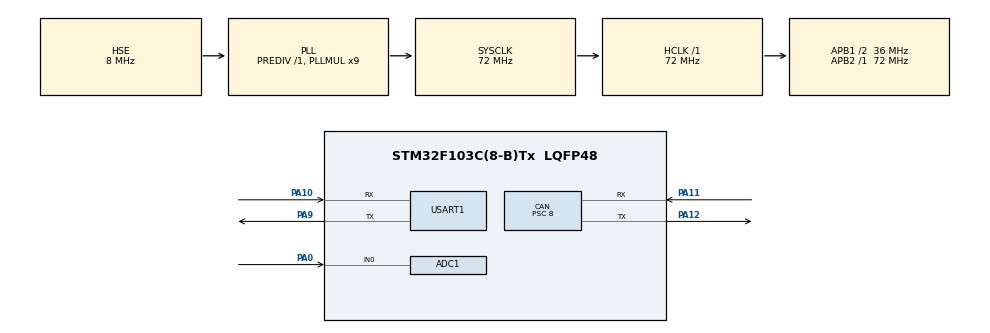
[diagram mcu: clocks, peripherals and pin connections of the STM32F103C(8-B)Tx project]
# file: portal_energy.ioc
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Mcu.Family=STM32F1
RCC.PLLSourceVirtual=RCC_PLLSOURCE_HSE
FREERTOS.Tasks01=defaultTask,0,128,StartDefaultTask,Default,NULL,Dynamic,NULL,NULL
ADC1.Rank-0\#ChannelRegularConversion=1
PD1-OSC_OUT.Mode=HSE-External-Oscillator
PA10.Mode=Asynchronous
VP_ADC1_TempSens_Input.Mode=IN-TempSens
ADC1.ContinuousConvMode=ENABLE
CAN.CalculateBaudRate=250000
PA11.Mode=CAN_Activate
CAN.SJW=CAN_SJW_1TQ
PD0-OSC_IN.Signal=RCC_OSC_IN
RCC.APB1CLKDivider=RCC_HCLK_DIV2
CAN.CalculateTimeBit=3999.99
RCC.SYSCLKSource=RCC_SYSCLKSOURCE_PLLCLK
ProjectManager.StackSize=0x400
PA0-WKUP.Signal=ADCx_IN0
PD1-OSC_OUT.Signal=RCC_OSC_OUT
RCC.ADCPresc=RCC_ADCPCLK2_DIV6
PA13.Signal=SYS_JTMS-SWDIO
PA9.Mode=Asynchronous
PA12.Signal=CAN_TX
CAN.BS2=CAN_BS2_2TQ
CAN.BS1=CAN_BS1_15TQ
CAN.Prescaler=8
ProjectManager.TargetToolchain=STM32CubeIDE
RCC.HCLKFreq_Value=72000000
RCC.APB2TimFreq_Value=72000000
PA9.Signal=USART1_TX
ADC1.Channel-1\#ChannelRegularConversion=ADC_CHANNEL_TEMPSENSOR
RCC.USBFreq_Value=72000000
CAN.Mode=CAN_MODE_LOOPBACK
RCC.AHBFreq_Value=72000000
PD0-OSC_IN.Mode=HSE-External-Oscillator
ADC1.Channel-0\#ChannelRegularConversion=ADC_CHANNEL_0
board=custom
RCC.PLLMUL=RCC_PLL_MUL9
RCC.APB2Freq_Value=72000000
PA14.Mode=Serial_Wire
SH.ADCx_IN0.0=ADC1_IN0,IN0
VP_FREERTOS_VS_CMSIS_V1.Mode=CMSIS_V1
ADC1.NbrOfConversion=2
PA13.Mode=Serial_Wire
Mcu.Name=STM32F103C(8-B)Tx
CAN.CalculateTimeQuantum=222.22222222222223
ADC1.SamplingTime-0\#ChannelRegularConversion=ADC_SAMPLETIME_71CYCLES_5
ADC1.SamplingTime-1\#ChannelRegularConversion=ADC_SAMPLETIME_71CYCLES_5
RCC.SYSCLKFreq_VALUE=72000000
Mcu.Package=LQFP48
ADC1.master=1
PA12.Mode=CAN_Activate
USART1.VirtualMode=VM_ASYNC
ADC1.Rank-1\#ChannelRegularConversion=2
PA11.Signal=CAN_RX
PA14.Signal=SYS_JTCK-SWCLK
PA10.Signal=USART1_RX
ProjectManager.HeapSize=0x200
NVIC.PriorityGroup=NVIC_PRIORITYGROUP_4
ADC1.NbrOfConversionFlag=1
RCC.APB1TimFreq_Value=72000000
RCC.APB1Freq_Value=36000000

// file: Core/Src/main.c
/* USER CODE BEGIN Header */
/**
  ******************************************************************************
  * @file           : main.c
  * @brief          : Main program body
  ******************************************************************************
  * @attention
  *
  * <h2><center>&copy; Copyright (c) 2021 STMicroelectronics.
  * All rights reserved.</center></h2>
  *
  * This software component is licensed by ST under BSD 3-Clause license,
  * the "License"; You may not use this file except in compliance with the
  * License. You may obtain a copy of the License at:
  *                        opensource.org/licenses/BSD-3-Clause
  *
  ******************************************************************************
  */
/* USER CODE END Header */
#include "main.h"
#include "cmsis_os.h"

/* USER CODE BEGIN Includes */
#include "adc.h"
#include "uart.h"
#include "can.h"
/* USER CODE END Includes */

osThreadId defaultTaskHandle;

void SystemClock_Config(void);
static void MX_GPIO_Init(void);
void StartDefaultTask(void const * argument);

int main(void)
{

  /* MCU Configuration--------------------------------------------------------*/

  /* Reset of all peripherals, Initializes the Flash interface and the Systick. */
  HAL_Init();

  /* Configure the system clock */
  SystemClock_Config();

  /* Initialize all configured peripherals */
  MX_GPIO_Init();
  MX_ADC1_Init();
  MX_CAN_Init();
  MX_USART1_UART_Init();

  /* Create the thread(s) */
  /* definition and creation of defaultTask */
  osThreadDef(defaultTask, StartDefaultTask, osPriorityNormal, 0, 128);
  defaultTaskHandle = osThreadCreate(osThread(defaultTask), NULL);

  /* USER CODE BEGIN RTOS_THREADS */
  /* add threads, ... */

  BaseType_t res = xTaskCreate(	vAdcTask,
				"vAdcTask",
				300,
				0,
				tskIDLE_PRIORITY,
				&adcTaskHandle );
  res = xTaskCreate(	vUartTXTask,
				"vUartTXTask",
				100,
				0,
				tskIDLE_PRIORITY,
				&uartTXTaskHandle );
  res = xTaskCreate(	vUartRXTask,
				"vUartRXTask",
				80,
				0,
				tskIDLE_PRIORITY,
				&uartRXTaskHandle );
  res = xTaskCreate(	vCanTask,
				"vCanTask",
				80,
				0,
				tskIDLE_PRIORITY,
				&canTaskHandle );

  /* USER CODE END RTOS_THREADS */

  /* Start scheduler */
  osKernelStart();

  /* We should never get here as control is now taken by the scheduler */
  /* Infinite loop */
  while (1)
  {

  }
}

void SystemClock_Config(void)
{
  RCC_OscInitTypeDef RCC_OscInitStruct = {0};
  RCC_ClkInitTypeDef RCC_ClkInitStruct = {0};
  RCC_PeriphCLKInitTypeDef PeriphClkInit = {0};

  /** Initializes the RCC Oscillators according to the specified parameters
  * in the RCC_OscInitTypeDef structure.
  */
  RCC_OscInitStruct.OscillatorType = RCC_OSCILLATORTYPE_HSE;
  RCC_OscInitStruct.HSEState = RCC_HSE_ON;
  RCC_OscInitStruct.HSEPredivValue = RCC_HSE_PREDIV_DIV1;
  RCC_OscInitStruct.HSIState = RCC_HSI_ON;
  RCC_OscInitStruct.PLL.PLLState = RCC_PLL_ON;
  RCC_OscInitStruct.PLL.PLLSource = RCC_PLLSOURCE_HSE;
  RCC_OscInitStruct.PLL.PLLMUL = RCC_PLL_MUL9;
  if (HAL_RCC_OscConfig(&RCC_OscInitStruct) != HAL_OK)
  {
    Error_Handler();
  }
  /** Initializes the CPU, AHB and APB buses clocks
  */
  RCC_ClkInitStruct.ClockType = RCC_CLOCKTYPE_HCLK|RCC_CLOCKTYPE_SYSCLK
                              |RCC_CLOCKTYPE_PCLK1|RCC_CLOCKTYPE_PCLK2;
  RCC_ClkInitStruct.SYSCLKSource = RCC_SYSCLKSOURCE_PLLCLK;
  RCC_ClkInitStruct.AHBCLKDivider = RCC_SYSCLK_DIV1;
  RCC_ClkInitStruct.APB1CLKDivider = RCC_HCLK_DIV2;
  RCC_ClkInitStruct.APB2CLKDivider = RCC_HCLK_DIV1;

  if (HAL_RCC_ClockConfig(&RCC_ClkInitStruct, FLASH_LATENCY_2) != HAL_OK)
  {
    Error_Handler();
  }
  PeriphClkInit.PeriphClockSelection = RCC_PERIPHCLK_ADC;
  PeriphClkInit.AdcClockSelection = RCC_ADCPCLK2_DIV6;
  if (HAL_RCCEx_PeriphCLKConfig(&PeriphClkInit) != HAL_OK)
  {
    Error_Handler();
  }
}

static void MX_GPIO_Init(void)
{

  /* GPIO Ports Clock Enable */
  __HAL_RCC_GPIOD_CLK_ENABLE();
  __HAL_RCC_GPIOA_CLK_ENABLE();

}

void StartDefaultTask(void const * argument)
{
  for(;;)
  {
    osDelay(1);
  }
}

void Error_Handler(void)
{
  __disable_irq();
  while (1)
  {
  }
}

/************************ (C) COPYRIGHT STMicroelectronics *****END OF FILE****/
